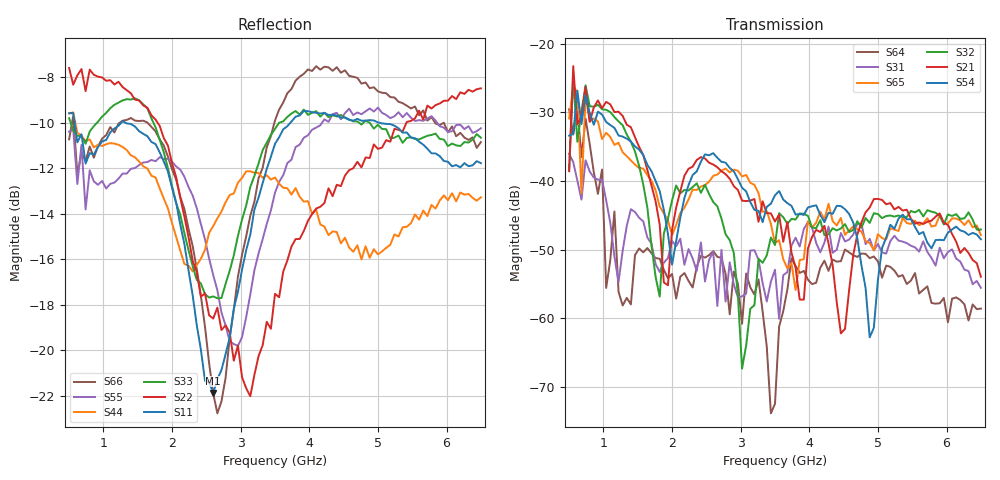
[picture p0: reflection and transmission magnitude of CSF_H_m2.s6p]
!Keysight Technologies,M9804A,MY58100912,A.14.10.03
!Date: Thursday, April 27, 2023 10:28:33
!Correction: S11(C  6-Port  )
!S12(C  6-Port  )
!S13(C  6-Port  )
!S14(C  6-Port  )
!S15(C  6-Port  )
!S16(C  6-Port  )
!S21(C  6-Port  )
!S22(C  6-Port  )
!S23(C  6-Port  )
!S24(C  6-Port  )
!S25(C  6-Port  )
!S26(C  6-Port  )
!S31(C  6-Port  )
!S32(C  6-Port  )
!S33(C  6-Port  )
!S34(C  6-Port  )
!S35(C  6-Port  )
!S36(C  6-Port  )
!S41(C  6-Port  )
!S42(C  6-Port  )
!S43(C  6-Port  )
!S44(C  6-Port  )
!S45(C  6-Port  )
!S46(C  6-Port  )
!S51(C  6-Port  )
!S52(C  6-Port  )
!S53(C  6-Port  )
!S54(C  6-Port  )
!S55(C  6-Port  )
!S56(C  6-Port  )
!S61(C  6-Port  )
!S62(C  6-Port  )
!S63(C  6-Port  )
!S64(C  6-Port  )
!S65(C  6-Port  )
!S66(C  6-Port  )
!S6P File: Measurement: :
# Hz S  RI  R 50
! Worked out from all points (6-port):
!   101 points, 500 MHz to 6.5 GHz, reference 50 ohm
!   strongest paths, dB at 500 MHz, 2 GHz, 3.5 GHz, 5 GHz, 6.5 GHz:
!     S54: -33.4, -52.2, -42.1, -54.4, -48.5
!     S21: -38.6, -47.1, -45.9, -42.6, -54.0
!     S32: -38.5, -42.8, -49.3, -44.8, -47.1
!     S65: -30.9, -47.9, -49.1, -47.8, -47.9
!     S31: -36.0, -48.7, -52.9, -49.2, -55.6
!     S64: -29.6, -53.6, -72.5, -51.7, -58.6
!   lowest |S11| = -21.9 dB at 2.6 GHz (marker M1), VSWR 1.18, Z = 42.8 + j1.97 ohm
!   |S11| at or under -10 dB: 579.7 MHz to 1.259 GHz (679.6 MHz wide, 73.9 % of centre); 1.322 GHz to 3.724 GHz (2.402 GHz wide, 95.2 % of centre); 5.021 GHz to end of sweep
